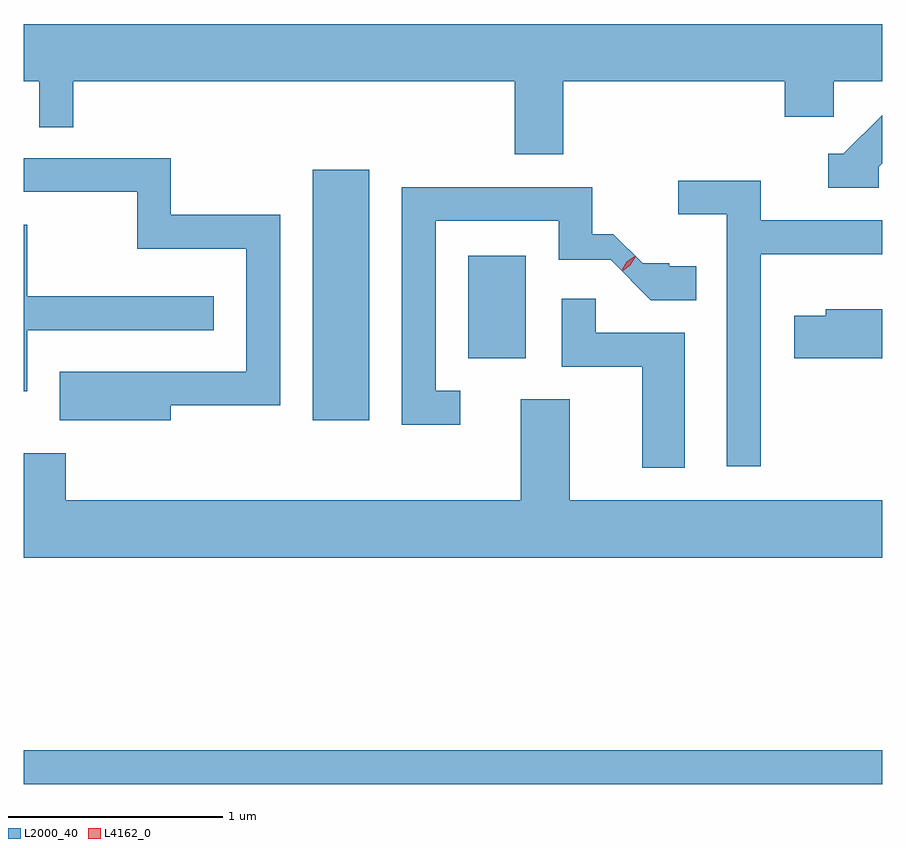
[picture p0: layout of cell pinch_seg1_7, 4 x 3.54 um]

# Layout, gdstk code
import gdstk
lib = gdstk.Library(unit=1e-6, precision=1e-09)
def R(c, l, rs):  # rectangles x0, y0, x1, y1
    for r in rs: c.add(gdstk.rectangle(r[:2], r[2:], *l))
def P(c, l, *ps):  # polygons
    for p in ps: c.add(gdstk.Polygon(p, *l))
L2000_40 = (2000, 40)
L4162_0 = (4162, 0)

pinch_seg1_7 = lib.new_cell('pinch_seg1_7')
R(pinch_seg1_7, L2000_40, [(1865.574,845.241,1869.574,845.399), (1866.921,846.936,1867.184,848.104), (1867.646,847.226,1867.914,847.704)])
P(pinch_seg1_7, L2000_40, [(1868.089,848.516),(1869.121,848.516),(1869.121,848.351),(1869.349,848.351),(1869.349,848.516),(1869.574,848.516),(1869.574,848.784),(1865.574,848.784),(1865.574,848.516),(1865.646,848.516),(1865.646,848.303),(1865.804,848.303),(1865.804,848.516),(1867.861,848.516),(1867.861,848.176),(1868.089,848.176)],
  [(1869.559,848.119),(1869.574,848.134),(1869.574,848.359),(1869.394,848.179),(1869.323,848.179),(1869.323,848.021),(1869.559,848.021)],
  [(1866.259,847.006),(1866.769,847.006),(1866.769,847.894),(1866.259,847.894),(1866.259,848.159),(1865.574,848.159),(1865.574,848.001),(1866.101,848.001),(1866.101,847.736),(1866.611,847.736),(1866.611,847.164),(1865.741,847.164),(1865.741,846.936),(1866.259,846.936)],
  [(1869.009,847.711),(1869.574,847.711),(1869.574,847.869),(1869.009,847.869),(1869.009,848.054),(1868.623,848.054),(1868.623,847.896),(1868.851,847.896),(1868.851,846.723),(1869.009,846.723)],
  [(1867.608,847.074),(1867.494,847.074),(1867.494,847.866),(1868.066,847.866),(1868.066,847.684),(1868.31,847.684),(1868.497,847.496),(1868.708,847.496),(1868.708,847.654),(1868.582,847.654),(1868.582,847.668),(1868.459,847.668),(1868.322,847.804),(1868.224,847.804),(1868.224,848.024),(1867.336,848.024),(1867.336,846.916),(1867.608,846.916)],
  [(1865.589,847.356),(1866.458,847.356),(1866.458,847.514),(1865.589,847.514),(1865.589,847.849),(1865.574,847.849),(1865.574,847.071),(1865.589,847.071)],
  [(1868.654,847.344),(1868.239,847.344),(1868.239,847.503),(1868.081,847.503),(1868.081,847.186),(1868.456,847.186),(1868.456,846.716),(1868.654,846.716)],
  [(1869.574,847.454),(1869.311,847.454),(1869.311,847.424),(1869.166,847.424),(1869.166,847.226),(1869.574,847.226)],
  [(1869.574,846.564),(1868.119,846.564),(1868.119,847.034),(1867.891,847.034),(1867.891,846.564),(1865.769,846.564),(1865.769,846.784),(1865.574,846.784),(1865.574,846.296),(1869.574,846.296)])
P(pinch_seg1_7, L4162_0, [(1868.363,847.639),(1868.363,847.64),(1868.383,847.676),(1868.417,847.7),(1868.418,847.7),(1868.418,847.7),(1868.398,847.663),(1868.364,847.639)],
  [(1868.363,847.632),(1868.363,847.632),(1868.386,847.673),(1868.424,847.702),(1868.425,847.702),(1868.425,847.701),(1868.401,847.66),(1868.364,847.632)])

lib.write_gds('pinch_seg1_7.gds')
